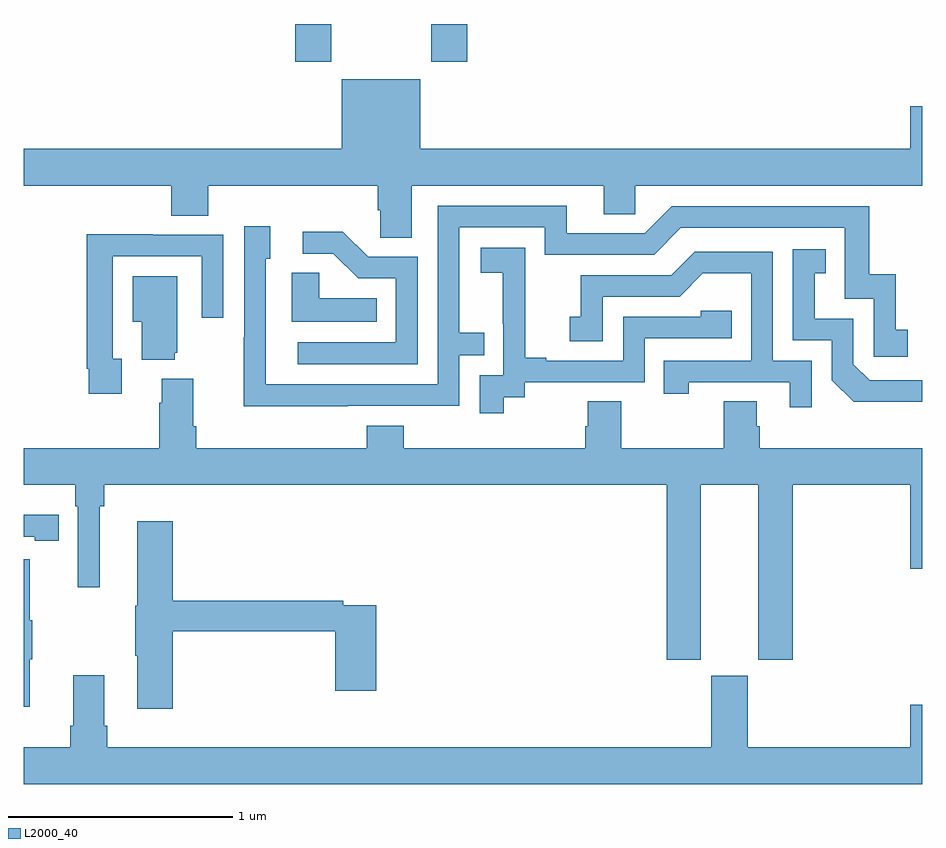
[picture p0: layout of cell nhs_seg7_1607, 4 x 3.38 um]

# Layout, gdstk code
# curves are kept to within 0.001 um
import gdstk
lib = gdstk.Library(unit=1e-6, precision=1e-09)
def R(c, l, rs):  # rectangles x0, y0, x1, y1
    for r in rs: c.add(gdstk.rectangle(r[:2], r[2:], *l))
def P(c, l, *ps):  # polygons
    for p in ps: c.add(gdstk.Polygon(p, *l))
L2000_40 = (2000, 40)

nhs_seg7_1607 = lib.new_cell('nhs_seg7_1607')
R(nhs_seg7_1607, L2000_40, [(222.209,1003.833,222.369,1004), (222.814,1003.833,222.974,1004)])
P(nhs_seg7_1607, L2000_40, [(222.727,1003.28),(223.583,1003.28),(223.583,1003.153),(223.722,1003.153),(223.722,1003.28),(225,1003.28),(225,1003.633),(224.948,1003.633),(224.948,1003.444),(222.766,1003.444),(222.766,1003.753),(222.416,1003.753),(222.416,1003.444),(221,1003.444),(221,1003.28),(221.657,1003.28),(221.657,1003.147),(221.822,1003.147),(221.822,1003.28),(222.575,1003.28),(222.575,1003.171),(222.588,1003.171),(222.588,1003.048),(222.727,1003.048)],
  [(222.443,1002.3),(222.939,1002.3),(222.939,1002.525),(223.049,1002.525),(223.049,1002.626),(222.939,1002.626),(222.939,1003.095),(223.32,1003.095),(223.32,1002.972),(223.806,1002.972),(223.926,1003.092),(224.655,1003.092),(224.655,1002.777),(224.784,1002.777),(224.784,1002.519),(224.935,1002.519),(224.935,1002.639),(224.882,1002.639),(224.882,1002.886),(224.764,1002.886),(224.764,1003.188),(223.884,1003.188),(223.764,1003.068),(223.417,1003.068),(223.417,1003.191),(222.843,1003.191),(222.843,1002.396),(222.078,1002.396),(222.078,1002.954),(222.097,1002.954),(222.097,1003.099),(221.982,1003.099),(221.982,1002.605),(221.98,1002.605),(221.98,1002.299)],
  [(222.753,1002.963),(222.534,1002.963),(222.421,1003.076),(222.243,1003.076),(222.243,1002.978),(222.377,1002.978),(222.488,1002.867),(222.657,1002.867),(222.657,1002.582),(222.219,1002.582),(222.219,1002.486),(222.753,1002.486)],
  [(221.437,1002.51),(221.397,1002.51),(221.397,1002.966),(221.793,1002.966),(221.793,1002.693),(221.889,1002.693),(221.889,1003.062),(221.573,1003.062),(221.573,1003.064),(221.281,1003.064),(221.281,1002.466),(221.289,1002.466),(221.289,1002.354),(221.437,1002.354)],
  [(223.138,1002.337),(223.23,1002.337),(223.23,1002.405),(223.764,1002.405),(223.764,1002.6),(224.153,1002.6),(224.153,1002.723),(224.013,1002.723),(224.013,1002.696),(223.668,1002.696),(223.668,1002.501),(223.327,1002.501),(223.327,1002.514),(223.232,1002.514),(223.232,1002.797),(223.233,1002.797),(223.233,1003.003),(223.035,1003.003),(223.035,1002.893),(223.133,1002.893),(223.133,1002.665),(223.134,1002.665),(223.134,1002.435),(223.029,1002.435),(223.029,1002.267),(223.138,1002.267)],
  [(225,1002.414),(224.766,1002.414),(224.694,1002.486),(224.694,1002.687),(224.521,1002.687),(224.521,1002.891),(224.57,1002.891),(224.57,1002.997),(224.424,1002.997),(224.424,1002.591),(224.598,1002.591),(224.598,1002.414),(224.696,1002.317),(225,1002.317)],
  [(224.508,1002.501),(224.334,1002.501),(224.334,1002.987),(223.988,1002.987),(223.883,1002.882),(223.48,1002.882),(223.48,1002.697),(223.431,1002.697),(223.431,1002.588),(223.578,1002.588),(223.578,1002.786),(223.92,1002.786),(224.024,1002.89),(224.238,1002.89),(224.238,1002.501),(223.849,1002.501),(223.849,1002.354),(223.96,1002.354),(223.96,1002.405),(224.411,1002.405),(224.411,1002.294),(224.508,1002.294)],
  [(222.572,1002.778),(222.315,1002.778),(222.315,1002.893),(222.194,1002.893),(222.194,1002.674),(222.572,1002.674)],
  [(221.672,1002.537),(221.683,1002.537),(221.683,1002.877),(221.486,1002.877),(221.486,1002.674),(221.525,1002.674),(221.525,1002.506),(221.672,1002.506)],
  [(223.862,1001.169),(224.014,1001.169),(224.014,1001.948),(224.27,1001.948),(224.27,1001.169),(224.423,1001.169),(224.423,1001.948),(224.948,1001.948),(224.948,1001.574),(225,1001.574),(225,1002.112),(224.276,1002.112),(224.276,1002.21),(224.263,1002.21),(224.263,1002.32),(224.116,1002.32),(224.116,1002.112),(223.659,1002.112),(223.659,1002.32),(223.511,1002.32),(223.511,1002.21),(223.499,1002.21),(223.499,1002.112),(222.692,1002.112),(222.692,1002.211),(222.527,1002.211),(222.527,1002.112),(221.768,1002.112),(221.768,1002.208),(221.755,1002.208),(221.755,1002.421),(221.615,1002.421),(221.615,1002.314),(221.603,1002.314),(221.603,1002.112),(221,1002.112),(221,1001.948),(221.228,1001.948),(221.228,1001.852),(221.241,1001.852),(221.241,1001.493),(221.338,1001.493),(221.338,1001.852),(221.357,1001.852),(221.357,1001.948),(223.862,1001.948)],
  [(221.156,1001.814),(221.048,1001.814),(221.048,1001.815),(221,1001.815),(221,1001.718),(221.048,1001.718),(221.048,1001.698),(221.156,1001.698)],
  [(221.663,1001.296),(222.386,1001.296),(222.386,1001.031),(222.569,1001.031),(222.569,1001.412),(222.422,1001.412),(222.422,1001.432),(221.663,1001.432),(221.663,1001.785),(221.504,1001.785),(221.504,1001.409),(221.497,1001.409),(221.497,1001.188),(221.504,1001.188),(221.504,1000.95),(221.663,1000.95)],
  [(221.027,1001.171),(221.038,1001.171),(221.038,1001.345),(221.027,1001.345),(221.027,1001.617),(221,1001.617),(221,1000.959),(221.027,1000.959)],
  [(225,1000.969),(224.948,1000.969),(224.948,1000.78),(224.224,1000.78),(224.224,1001.097),(224.06,1001.097),(224.06,1000.78),(221.372,1000.78),(221.372,1000.876),(221.359,1000.876),(221.359,1001.101),(221.219,1001.101),(221.219,1000.876),(221.207,1000.876),(221.207,1000.78),(221,1000.78),(221,1000.616),(225,1000.616)])

lib.write_gds('nhs_seg7_1607.gds')
